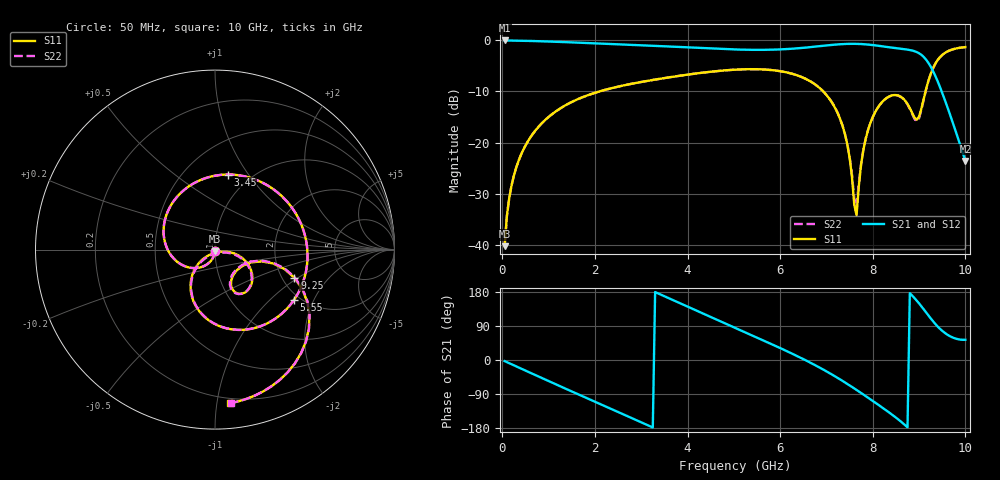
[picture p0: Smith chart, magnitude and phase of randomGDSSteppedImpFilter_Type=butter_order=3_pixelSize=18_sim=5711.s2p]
! freq	dB(S11)	phase(S11)	dB(S12)	phase(S12)
!  dB(S21)	phase(S21)	dB(S22)	phase(S22)
!S-par simulation data
#  GHz  S  DB  R 50
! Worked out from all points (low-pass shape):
!   200 points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, 50 MHz to 10 GHz, reference 50 ohm
!   highest |S21| = 0.00 dB at 50 MHz (marker M1); lowest = -23.6 dB at 10 GHz (marker M2)
!   |S21| within 3 dB of the highest: start of sweep to 9.072 GHz
!   lowest |S11| = -40.3 dB at 50 MHz (marker M3), VSWR 1.02, Z = 50 - j0.964 ohm
!   |S11| at or under -10 dB: start of sweep to 2.095 GHz; 6.931 GHz to 9.139 GHz (2.208 GHz wide, 27.5 % of centre)
!   |S22| runs from -40.3 to -1.3 dB; largest |S21 - S12| = 0
!   S11 on the Smith chart (normalised r, x): 50 MHz: 1.00, -0.02; 3.45 GHz: 0.79, +0.81; 5.55 GHz: 1.84, -1.43; 9.25 GHz: 2.32, -0.93; 10 GHz: 0.17, -1.09
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0.05  -40.31 -92.0  -0.00 -2.8  -0.00 -2.8  -40.31 -92.0
0.2  -28.40 -101.0  -0.03 -11.2  -0.03 -11.2  -28.40 -101.0
0.5  -20.60 -118.3  -0.08 -27.9  -0.08 -27.9  -20.60 -118.4
1.15  -13.94 -154.5  -0.26 -63.8  -0.26 -63.8  -13.94 -154.6
1.75  -11.06 172.7  -0.47 -96.5  -0.47 -96.5  -11.07 172.6
2.65  -8.75 123.8  -0.81 -145.4  -0.81 -145.4  -8.76 123.8
3.4  -7.52 83.1  -1.11 173.8  -1.11 173.8  -7.52 83.0
3.45  -7.45 80.4  -1.13 171.0  -1.13 171.0  -7.45 80.3
4.3  -6.34 34.2  -1.50 124.6  -1.50 124.6  -6.34 34.2
5.05  -5.71 -6.1  -1.78 83.7  -1.78 83.7  -5.71 -6.0
5.55  -5.65 -32.8  -1.85 56.5  -1.85 56.5  -5.65 -32.7
6.7  -8.28 -97.5  -1.27 -10.1  -1.27 -10.1  -8.27 -97.0
7.35  -16.83 -137.5  -0.72 -55.4  -0.72 -55.4  -16.77 -135.8
7.65  -34.24 -53.0  -0.67 -79.0  -0.67 -79.0  -32.53 -58.2
7.75  -24.19 -10.6  -0.71 -87.2  -0.71 -87.2  -24.03 -15.1
7.9  -17.48 -13.8  -0.81 -99.6  -0.81 -99.6  -17.47 -16.0
8.35  -10.99 -44.5  -1.33 -138.2  -1.33 -138.2  -11.01 -45.6
8.85  -14.21 -62.5  -1.98 170.1  -1.98 170.1  -14.40 -63.8
9  -14.92 -29.7  -2.51 149.3  -2.51 149.3  -15.21 -29.4
9.25  -6.58 -19.5  -5.12 109.9  -5.12 109.9  -6.62 -18.9
9.5  -2.84 -45.5  -10.28 77.0  -10.28 77.0  -2.85 -45.2
10  -1.31 -84.3  -23.64 53.4  -23.64 53.4  -1.31 -84.2
